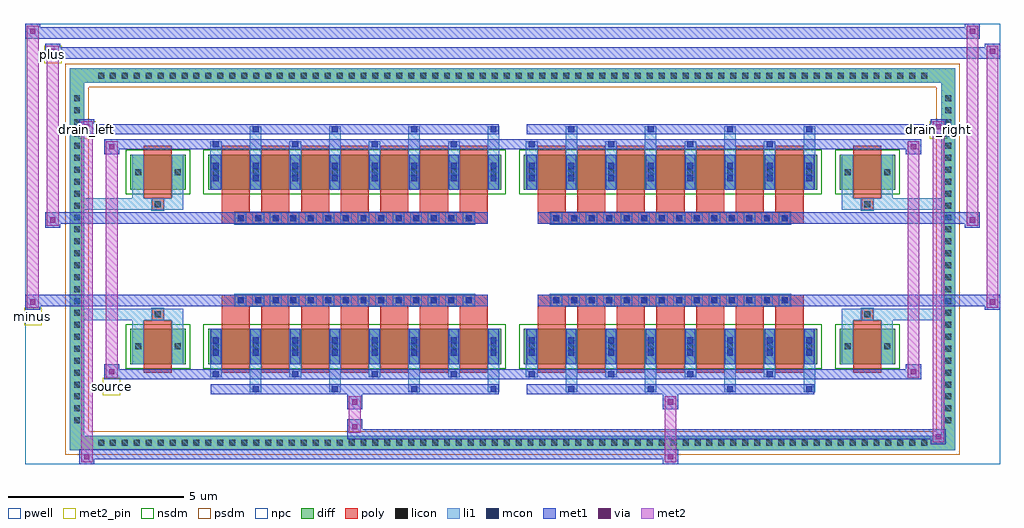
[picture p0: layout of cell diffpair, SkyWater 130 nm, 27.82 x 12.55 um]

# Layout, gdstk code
import gdstk
lib = gdstk.Library(unit=1e-6, precision=5e-09)
def R(c, l, rs):  # rectangles x0, y0, x1, y1
    for r in rs: c.add(gdstk.rectangle(r[:2], r[2:], *l))
def A(c, l, x, y, w, h, nx, ny, dx, dy):  # array of equal rectangles
    R(c, l, [(x+i*dx, y+j*dy, x+i*dx+w, y+j*dy+h) for i in range(nx) for j in range(ny)])
def P(c, l, *ps):  # polygons
    for p in ps: c.add(gdstk.Polygon(p, *l))
pwell = (64, 44)
diff = (65, 20)
poly = (66, 20)
licon = (66, 44)
li1 = (67, 20)
mcon = (67, 44)
met1 = (68, 20)
via = (68, 44)
met2_pin = (69, 16)
met2 = (69, 20)
nsdm = (93, 44)
psdm = (94, 20)
npc = (95, 20)

diffpair = lib.new_cell('diffpair')
R(diffpair, pwell, [(-13.89,-5.84,13.89,6.71), (-11.21,-4.03,-0.01,-0.805), (0.01,-4.03,11.21,-0.805), (-11.21,0.805,-0.01,4.03), (0.01,0.805,11.21,4.03)])
A(diffpair, diff, -11.935, -5.44, 0.41, 0.41, 70, 2, 0.34, 10.47)
A(diffpair, diff, -12.62, -4.795, 0.41, 0.41, 1, 28, 0, 0.34)
A(diffpair, diff, 12.21, -4.795, 0.41, 0.41, 1, 28, 0, 0.34)
R(diffpair, diff, [(-11.935,-5.44,11.935,-5.03), (-12.62,-4.795,-12.21,4.795), (12.21,-4.795,12.62,4.795), (-10.9,-2.985,-9.32,-1.985), (-8.68,-2.985,-0.32,-1.985), (0.32,-2.985,8.68,-1.985), (9.32,-2.985,10.9,-1.985), (-10.9,1.985,-9.32,2.985), (-8.68,1.985,-0.32,2.985), (0.32,1.985,8.68,2.985), (9.32,1.985,10.9,2.985), (-11.935,5.03,11.935,5.44)])
P(diffpair, diff, [(12.62,5.44),(-12.62,5.44),(-12.62,-5.03),(-12.21,-5.03),(-12.21,5.03),(12.21,5.03),(12.21,-5.03),(-12.21,-5.03),(-12.62,-5.03),(-12.62,-5.44),(12.62,-5.44)])
A(diffpair, poly, -8.29, -3.235, 0.8, 1.5, 7, 2, 1.13, 4.97)
A(diffpair, poly, 0.71, -3.235, 0.8, 1.5, 7, 2, 1.13, 4.97)
A(diffpair, poly, -8.29, -1.735, 0.8, 0.4, 7, 2, 1.13, 3.07)
A(diffpair, poly, 0.71, -1.735, 0.8, 0.4, 7, 2, 1.13, 3.07)
A(diffpair, poly, -7.915, -1.335, 0.33, 0.33, 14, 2, 0.5, 2.34)
A(diffpair, poly, 1.085, -1.335, 0.33, 0.33, 14, 2, 0.5, 2.34)
R(diffpair, poly, [(-10.51,-3.235,-9.71,-1.735), (9.71,-3.235,10.51,-1.735), (-10.275,-1.735,-9.945,-1.405), (-10.275,-1.735,-9.945,-1.405), (9.945,-1.735,10.275,-1.405), (9.945,-1.735,10.275,-1.405), (-8.29,-1.335,-0.71,-1.005), (0.71,-1.335,8.29,-1.005), (-8.29,1.005,-0.71,1.335), (0.71,1.005,8.29,1.335), (-10.275,1.405,-9.945,1.735), (-10.275,1.405,-9.945,1.735), (9.945,1.405,10.275,1.735), (9.945,1.405,10.275,1.735), (-10.51,1.735,-9.71,3.235), (9.71,1.735,10.51,3.235)])
A(diffpair, licon, -11.815, -5.32, 0.17, 0.17, 70, 2, 0.34, 10.47)
A(diffpair, licon, -12.5, -4.675, 0.17, 0.17, 1, 28, 0, 0.34)
A(diffpair, licon, 12.33, -4.675, 0.17, 0.17, 1, 28, 0, 0.34)
A(diffpair, licon, -8.54, -2.57, 0.17, 0.17, 8, 2, 1.13, 4.97)
A(diffpair, licon, 0.46, -2.57, 0.17, 0.17, 8, 2, 1.13, 4.97)
A(diffpair, licon, -7.835, -1.255, 0.17, 0.17, 14, 2, 0.5, 2.34)
A(diffpair, licon, 1.165, -1.255, 0.17, 0.17, 14, 2, 0.5, 2.34)
R(diffpair, licon, [(-10.76,-2.57,-10.59,-2.4), (-9.63,-2.57,-9.46,-2.4), (9.46,-2.57,9.63,-2.4), (10.59,-2.57,10.76,-2.4), (-10.195,-1.655,-10.025,-1.485), (10.025,-1.655,10.195,-1.485), (-10.195,1.485,-10.025,1.655), (10.025,1.485,10.195,1.655), (-10.76,2.4,-10.59,2.57), (-9.63,2.4,-9.46,2.57), (9.46,2.4,9.63,2.57), (10.59,2.4,10.76,2.57)])
A(diffpair, li1, -11.895, -5.4, 0.33, 0.33, 70, 2, 0.34, 10.47)
A(diffpair, li1, -12.58, -4.755, 0.33, 0.33, 1, 28, 0, 0.34)
A(diffpair, li1, 12.25, -4.755, 0.33, 0.33, 1, 28, 0, 0.34)
A(diffpair, li1, -7.49, -3.79, 0.33, 0.805, 4, 2, 2.26, 6.775)
A(diffpair, li1, -7.41, -3.79, 0.17, 0.17, 4, 2, 2.26, 7.41)
A(diffpair, li1, 1.51, -3.79, 0.33, 0.805, 4, 2, 2.26, 6.775)
A(diffpair, li1, 1.59, -3.79, 0.17, 0.17, 4, 2, 2.26, 7.41)
A(diffpair, li1, -8.62, -3.36, 0.33, 0.375, 4, 2, 2.26, 6.345)
A(diffpair, li1, -8.54, -3.36, 0.17, 0.17, 4, 2, 2.26, 6.55)
A(diffpair, li1, 0.38, -3.36, 0.33, 0.375, 4, 2, 2.26, 6.345)
A(diffpair, li1, 0.46, -3.36, 0.17, 0.17, 4, 2, 2.26, 6.55)
A(diffpair, li1, -8.62, -2.985, 0.33, 1, 8, 2, 1.13, 4.97)
A(diffpair, li1, 0.38, -2.985, 0.33, 1, 8, 2, 1.13, 4.97)
A(diffpair, li1, -8.54, -2.75, 0.17, 0.17, 8, 2, 1.13, 0.36)
A(diffpair, li1, -8.54, -2.75, 0.17, 0.53, 8, 2, 1.13, 4.97)
A(diffpair, li1, 0.46, -2.75, 0.17, 0.17, 8, 2, 1.13, 0.36)
A(diffpair, li1, 0.46, -2.75, 0.17, 0.53, 8, 2, 1.13, 4.97)
A(diffpair, li1, -8.62, -2.65, 0.33, 0.33, 8, 2, 1.13, 4.97)
A(diffpair, li1, 0.38, -2.65, 0.33, 0.33, 8, 2, 1.13, 4.97)
A(diffpair, li1, -7.915, -1.335, 0.33, 0.33, 14, 2, 0.5, 2.34)
A(diffpair, li1, 1.085, -1.335, 0.33, 0.33, 14, 2, 0.5, 2.34)
A(diffpair, li1, -8.54, 2.22, 0.17, 0.17, 8, 2, 1.13, 0.36)
A(diffpair, li1, 0.46, 2.22, 0.17, 0.17, 8, 2, 1.13, 0.36)
R(diffpair, li1, [(-12.62,-5.44,-12.21,-5.03), (-12.62,-5.44,-12.21,-5.03), (-12.21,-5.44,12.21,-5.03), (12.21,-5.44,12.62,-5.03), (12.21,-5.44,12.62,-5.03), (-12.62,-5.03,-12.21,5.03), (12.21,-5.03,12.62,5.03), (-10.84,-2.985,-10.51,-1.985), (-9.71,-2.985,-9.38,-1.985), (9.38,-2.985,9.71,-1.985), (10.51,-2.985,10.84,-1.985), (-10.84,-2.65,-10.51,-2.32), (-9.71,-2.65,-9.38,-2.32), (9.38,-2.65,9.71,-2.32), (10.51,-2.65,10.84,-2.32), (-10.84,-1.985,-10.51,-1.405), (-9.71,-1.985,-9.38,-1.405), (9.38,-1.985,9.71,-1.405), (10.51,-1.985,10.84,-1.405), (-12.62,-1.735,-10.275,-1.405), (-10.84,-1.735,-10.275,-1.405), (-10.275,-1.735,-9.945,-1.405), (-9.945,-1.735,-9.38,-1.405), (9.38,-1.735,9.945,-1.405), (9.945,-1.735,10.275,-1.405), (9.945,-1.735,12.62,-1.405), (10.275,-1.735,10.84,-1.405), (-12.62,1.405,-10.275,1.735), (-10.84,1.405,-10.275,1.735), (-10.84,1.405,-10.51,1.985), (-10.275,1.405,-9.945,1.735), (-9.945,1.405,-9.38,1.735), (-9.71,1.405,-9.38,1.985), (9.38,1.405,9.945,1.735), (9.38,1.405,9.71,1.985), (9.945,1.405,10.275,1.735), (9.945,1.405,12.62,1.735), (10.275,1.405,10.84,1.735), (10.51,1.405,10.84,1.985), (-10.84,1.985,-10.51,2.985), (-9.71,1.985,-9.38,2.985), (9.38,1.985,9.71,2.985), (10.51,1.985,10.84,2.985), (-10.84,2.32,-10.51,2.65), (-9.71,2.32,-9.38,2.65), (9.38,2.32,9.71,2.65), (10.51,2.32,10.84,2.65), (-12.62,5.03,-12.21,5.44), (-12.62,5.03,-12.21,5.44), (-12.21,5.03,12.21,5.44), (12.21,5.03,12.62,5.44), (12.21,5.03,12.62,5.44)])
A(diffpair, mcon, -7.41, -3.79, 0.17, 0.17, 4, 2, 2.26, 7.41)
A(diffpair, mcon, 1.59, -3.79, 0.17, 0.17, 4, 2, 2.26, 7.41)
A(diffpair, mcon, -8.54, -3.36, 0.17, 0.17, 4, 2, 2.26, 6.55)
A(diffpair, mcon, 0.46, -3.36, 0.17, 0.17, 4, 2, 2.26, 6.55)
A(diffpair, mcon, -8.54, -2.75, 0.17, 0.17, 8, 2, 1.13, 0.36)
A(diffpair, mcon, 0.46, -2.75, 0.17, 0.17, 8, 2, 1.13, 0.36)
A(diffpair, mcon, -7.835, -1.255, 0.17, 0.17, 14, 2, 0.5, 2.34)
A(diffpair, mcon, 1.165, -1.255, 0.17, 0.17, 14, 2, 0.5, 2.34)
A(diffpair, mcon, -8.54, 2.22, 0.17, 0.17, 8, 2, 1.13, 0.36)
A(diffpair, mcon, 0.46, 2.22, 0.17, 0.17, 8, 2, 1.13, 0.36)
A(diffpair, met1, -7.47, -3.85, 0.29, 0.29, 4, 2, 2.26, 7.41)
A(diffpair, met1, 1.53, -3.85, 0.29, 0.29, 4, 2, 2.26, 7.41)
A(diffpair, met1, -8.6, -3.42, 0.29, 0.29, 4, 2, 2.26, 6.55)
A(diffpair, met1, 0.4, -3.42, 0.29, 0.29, 4, 2, 2.26, 6.55)
A(diffpair, met1, -8.6, -2.985, 0.29, 1, 8, 2, 1.13, 4.97)
A(diffpair, met1, 0.4, -2.985, 0.29, 1, 8, 2, 1.13, 4.97)
A(diffpair, met1, -8.6, -2.81, 0.29, 0.29, 8, 2, 1.13, 0.36)
A(diffpair, met1, 0.4, -2.81, 0.29, 0.29, 8, 2, 1.13, 0.36)
A(diffpair, met1, -7.895, -1.315, 0.29, 0.29, 14, 2, 0.5, 2.34)
A(diffpair, met1, 1.105, -1.315, 0.29, 0.29, 14, 2, 0.5, 2.34)
A(diffpair, met1, -8.6, 2.16, 0.29, 0.29, 8, 2, 1.13, 0.36)
A(diffpair, met1, 0.4, 2.16, 0.29, 0.29, 8, 2, 1.13, 0.36)
R(diffpair, met1, [(-12.35,-5.84,-11.92,-5.41), (4.285,-5.84,4.715,-5.41), (-12.35,-5.7,4.715,-5.41), (11.92,-5.27,12.35,-4.84), (-4.715,-5.13,12.35,-4.84), (-4.715,-4.99,-4.285,-4.56), (-4.715,-4.28,-4.285,-3.85), (4.285,-4.28,4.715,-3.85), (-8.6,-3.85,-0.4,-3.56), (0.4,-3.85,8.6,-3.56), (-11.64,-3.42,-11.21,-2.99), (-11.64,-3.42,-8.6,-3.13), (-8.6,-3.42,-0.4,-3.13), (-0.4,-3.42,0.4,-3.13), (0.4,-3.42,8.6,-3.13), (8.6,-3.42,11.64,-3.13), (11.21,-3.42,11.64,-2.99), (-13.89,-1.435,-13.46,-1.005), (13.46,-1.435,13.89,-1.005), (-13.89,-1.335,-0.71,-1.005), (-8.29,-1.335,-0.71,-1.005), (0.71,-1.335,8.29,-1.005), (0.71,-1.335,13.89,-1.005), (-13.32,0.905,-12.89,1.335), (12.89,0.905,13.32,1.335), (-13.32,1.005,-8.29,1.335), (-8.29,1.005,-0.71,1.335), (0.71,1.005,8.29,1.335), (8.29,1.005,13.32,1.335), (-11.64,2.99,-11.21,3.42), (11.21,2.99,11.64,3.42), (-11.64,3.13,-8.6,3.42), (-8.6,3.13,-0.4,3.42), (-0.4,3.13,0.4,3.42), (0.4,3.13,8.6,3.42), (8.6,3.13,11.64,3.42), (-12.35,3.56,-11.92,3.99), (-12.35,3.56,-8.6,3.85), (-8.6,3.56,-0.4,3.85), (0.4,3.56,8.6,3.85), (8.6,3.56,12.35,3.85), (11.92,3.56,12.35,3.99), (-13.32,5.71,-12.89,6.14), (-13.32,5.71,-11.21,6.04), (-11.21,5.71,11.21,6.04), (11.21,5.71,13.89,6.04), (13.46,5.71,13.89,6.14), (-13.89,6.28,-13.46,6.71), (-13.89,6.28,-11.21,6.61), (-11.21,6.28,11.21,6.61), (11.21,6.28,13.32,6.61), (12.89,6.28,13.32,6.71)])
R(diffpair, via, [(-12.21,-5.7,-12.06,-5.55), (4.425,-5.7,4.575,-5.55), (12.06,-5.13,12.21,-4.98), (-4.575,-4.85,-4.425,-4.7), (-4.575,-4.14,-4.425,-3.99), (4.425,-4.14,4.575,-3.99), (-11.5,-3.28,-11.35,-3.13), (11.35,-3.28,11.5,-3.13), (-13.75,-1.295,-13.6,-1.145), (13.6,-1.295,13.75,-1.145), (-13.18,1.045,-13.03,1.195), (13.03,1.045,13.18,1.195), (-11.5,3.13,-11.35,3.28), (11.35,3.13,11.5,3.28), (-12.21,3.7,-12.06,3.85), (12.06,3.7,12.21,3.85), (-13.18,5.85,-13.03,6), (13.6,5.85,13.75,6), (-13.75,6.42,-13.6,6.57), (13.03,6.42,13.18,6.57)])
R(diffpair, met2_pin, [(-11.675,-3.87,-11.175,-3.37), (-13.925,-1.885,-13.425,-1.385), (-12.385,3.44,-11.885,3.94), (11.885,3.44,12.385,3.94), (-13.355,5.59,-12.855,6.09)])
R(diffpair, met2, [(-12.3,-5.79,-11.97,-5.46), (-12.3,-5.79,-11.97,3.94), (4.335,-5.79,4.665,-5.46), (4.335,-5.46,4.665,-4.23), (11.97,-5.22,12.3,-4.89), (11.97,-5.22,12.3,3.94), (-4.665,-4.94,-4.335,-4.61), (-4.665,-4.61,-4.335,-4.23), (-4.665,-4.23,-4.335,-3.9), (4.335,-4.23,4.665,-3.9), (-11.59,-3.37,-11.26,-3.04), (-11.59,-3.37,-11.26,3.37), (11.26,-3.37,11.59,-3.04), (11.26,-3.37,11.59,3.37), (-13.84,-1.385,-13.51,-1.055), (-13.84,-1.385,-13.51,6.66), (13.51,-1.385,13.84,-1.055), (13.51,-1.385,13.84,6.09), (-13.27,0.955,-12.94,1.285), (-13.27,0.955,-12.94,6.09), (12.94,0.955,13.27,1.285), (12.94,0.955,13.27,6.66), (-11.59,3.04,-11.26,3.37), (11.26,3.04,11.59,3.37), (-12.3,3.61,-11.97,3.94), (11.97,3.61,12.3,3.94), (-13.27,5.76,-12.94,6.09), (13.51,5.76,13.84,6.09), (-13.84,6.33,-13.51,6.66), (12.94,6.33,13.27,6.66)])
P(diffpair, met2, [(13.84,-1.385),(13.84,-1.385),(13.84,-1.055),(13.84,-1.055)],
  [(13.84,5.76),(13.84,5.76),(13.84,6.09),(13.84,6.09)],
  [(-13.51,-1.385),(-13.51,-1.385),(-13.51,-1.055),(-13.51,-1.055)],
  [(-13.51,6.33),(-13.51,6.33),(-13.51,6.66),(-13.51,6.66)],
  [(13.27,0.955),(13.27,0.955),(13.27,1.285),(13.27,1.285)],
  [(13.27,6.33),(13.27,6.33),(13.27,6.66),(13.27,6.66)],
  [(-12.94,0.955),(-12.94,0.955),(-12.94,1.285),(-12.94,1.285)],
  [(-12.94,5.76),(-12.94,5.76),(-12.94,6.09),(-12.94,6.09)],
  [(-11.97,-5.79),(-11.97,-5.79),(-11.97,-5.46),(-11.97,-5.46)],
  [(-11.97,3.61),(-11.97,3.61),(-11.97,3.94),(-11.97,3.94)],
  [(12.3,-5.22),(12.3,-5.22),(12.3,-4.89),(12.3,-4.89)],
  [(12.3,3.61),(12.3,3.61),(12.3,3.94),(12.3,3.94)],
  [(-11.26,-3.37),(-11.26,-3.37),(-11.26,-3.04),(-11.26,-3.04)],
  [(-11.26,3.04),(-11.26,3.04),(-11.26,3.37),(-11.26,3.37)],
  [(11.59,-3.37),(11.59,-3.37),(11.59,-3.04),(11.59,-3.04)],
  [(11.59,3.04),(11.59,3.04),(11.59,3.37),(11.59,3.37)])
R(diffpair, nsdm, [(-11.03,-3.115,-9.19,-1.855), (-8.81,-3.115,-0.19,-1.855), (0.19,-3.115,8.81,-1.855), (9.19,-3.115,11.03,-1.855), (-11.03,1.855,-9.19,3.115), (-8.81,1.855,-0.19,3.115), (0.19,1.855,8.81,3.115), (9.19,1.855,11.03,3.115)])
P(diffpair, psdm, [(12.75,5.57),(-12.75,5.57),(-12.75,-4.9),(-12.08,-4.9),(-12.08,4.9),(12.08,4.9),(12.08,-4.9),(-12.08,-4.9),(-12.75,-4.9),(-12.75,-5.57),(12.75,-5.57)])
A(diffpair, npc, -7.935, -1.355, 0.37, 0.37, 14, 2, 0.5, 2.34)
A(diffpair, npc, 1.065, -1.355, 0.37, 0.37, 14, 2, 0.5, 2.34)
R(diffpair, npc, [(-10.295,-1.755,-9.925,-1.385), (9.925,-1.755,10.295,-1.385), (-7.935,-1.355,-7.065,-0.985), (-7.935,-1.355,-7.065,-0.985), (-7.435,-1.355,-6.565,-0.985), (-7.435,-1.355,-6.565,-0.985), (-6.935,-1.355,-6.065,-0.985), (-6.935,-1.355,-6.065,-0.985), (-6.435,-1.355,-5.565,-0.985), (-6.435,-1.355,-5.565,-0.985), (-5.935,-1.355,-5.065,-0.985), (-5.935,-1.355,-5.065,-0.985), (-5.435,-1.355,-4.565,-0.985), (-5.435,-1.355,-4.565,-0.985), (-4.935,-1.355,-4.065,-0.985), (-4.935,-1.355,-4.065,-0.985), (-4.435,-1.355,-3.565,-0.985), (-4.435,-1.355,-3.565,-0.985), (-3.935,-1.355,-3.065,-0.985), (-3.935,-1.355,-3.065,-0.985), (-3.435,-1.355,-2.565,-0.985), (-3.435,-1.355,-2.565,-0.985), (-2.935,-1.355,-2.065,-0.985), (-2.935,-1.355,-2.065,-0.985), (-2.435,-1.355,-1.565,-0.985), (-2.435,-1.355,-1.565,-0.985), (-1.935,-1.355,-1.065,-0.985), (-1.935,-1.355,-1.065,-0.985), (1.065,-1.355,1.935,-0.985), (1.065,-1.355,1.935,-0.985), (1.565,-1.355,2.435,-0.985), (1.565,-1.355,2.435,-0.985), (2.065,-1.355,2.935,-0.985), (2.065,-1.355,2.935,-0.985), (2.565,-1.355,3.435,-0.985), (2.565,-1.355,3.435,-0.985), (3.065,-1.355,3.935,-0.985), (3.065,-1.355,3.935,-0.985), (3.565,-1.355,4.435,-0.985), (3.565,-1.355,4.435,-0.985), (4.065,-1.355,4.935,-0.985), (4.065,-1.355,4.935,-0.985), (4.565,-1.355,5.435,-0.985), (4.565,-1.355,5.435,-0.985), (5.065,-1.355,5.935,-0.985), (5.065,-1.355,5.935,-0.985), (5.565,-1.355,6.435,-0.985), (5.565,-1.355,6.435,-0.985), (6.065,-1.355,6.935,-0.985), (6.065,-1.355,6.935,-0.985), (6.565,-1.355,7.435,-0.985), (6.565,-1.355,7.435,-0.985), (7.065,-1.355,7.935,-0.985), (7.065,-1.355,7.935,-0.985), (-7.935,0.985,-7.065,1.355), (-7.935,0.985,-7.065,1.355), (-7.435,0.985,-6.565,1.355), (-7.435,0.985,-6.565,1.355), (-6.935,0.985,-6.065,1.355), (-6.935,0.985,-6.065,1.355), (-6.435,0.985,-5.565,1.355), (-6.435,0.985,-5.565,1.355), (-5.935,0.985,-5.065,1.355), (-5.935,0.985,-5.065,1.355), (-5.435,0.985,-4.565,1.355), (-5.435,0.985,-4.565,1.355), (-4.935,0.985,-4.065,1.355), (-4.935,0.985,-4.065,1.355), (-4.435,0.985,-3.565,1.355), (-4.435,0.985,-3.565,1.355), (-3.935,0.985,-3.065,1.355), (-3.935,0.985,-3.065,1.355), (-3.435,0.985,-2.565,1.355), (-3.435,0.985,-2.565,1.355), (-2.935,0.985,-2.065,1.355), (-2.935,0.985,-2.065,1.355), (-2.435,0.985,-1.565,1.355), (-2.435,0.985,-1.565,1.355), (-1.935,0.985,-1.065,1.355), (-1.935,0.985,-1.065,1.355), (1.065,0.985,1.935,1.355), (1.065,0.985,1.935,1.355), (1.565,0.985,2.435,1.355), (1.565,0.985,2.435,1.355), (2.065,0.985,2.935,1.355), (2.065,0.985,2.935,1.355), (2.565,0.985,3.435,1.355), (2.565,0.985,3.435,1.355), (3.065,0.985,3.935,1.355), (3.065,0.985,3.935,1.355), (3.565,0.985,4.435,1.355), (3.565,0.985,4.435,1.355), (4.065,0.985,4.935,1.355), (4.065,0.985,4.935,1.355), (4.565,0.985,5.435,1.355), (4.565,0.985,5.435,1.355), (5.065,0.985,5.935,1.355), (5.065,0.985,5.935,1.355), (5.565,0.985,6.435,1.355), (5.565,0.985,6.435,1.355), (6.065,0.985,6.935,1.355), (6.065,0.985,6.935,1.355), (6.565,0.985,7.435,1.355), (6.565,0.985,7.435,1.355), (7.065,0.985,7.935,1.355), (7.065,0.985,7.935,1.355), (-10.295,1.385,-9.925,1.755), (9.925,1.385,10.295,1.755)])
diffpair.add(gdstk.Label('minus', (-13.675,-1.635), layer=69, texttype=5))
diffpair.add(gdstk.Label('drain_right', (12.135,3.69), layer=69, texttype=5))
diffpair.add(gdstk.Label('drain_left', (-12.135,3.69), layer=69, texttype=5))
diffpair.add(gdstk.Label('source', (-11.425,-3.62), layer=69, texttype=5))
diffpair.add(gdstk.Label('plus', (-13.105,5.84), layer=69, texttype=5))

lib.write_gds('diffpair.gds')
